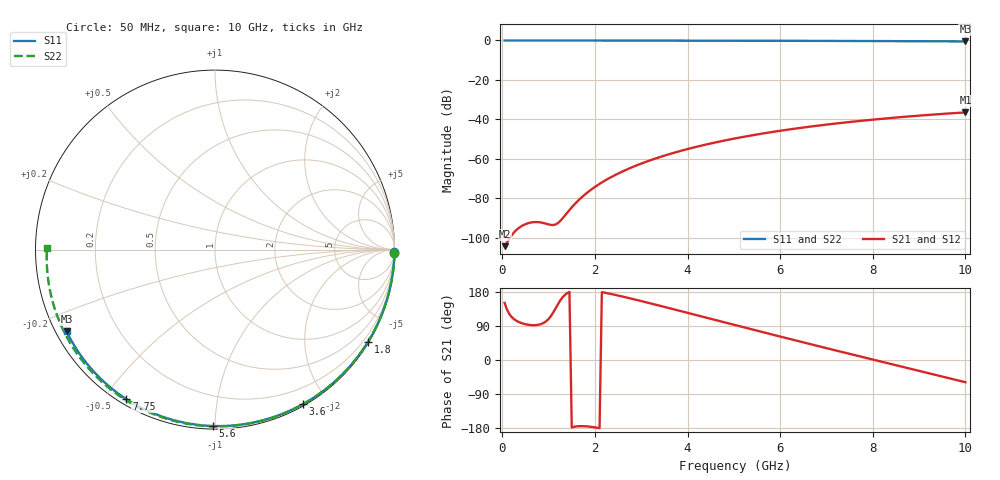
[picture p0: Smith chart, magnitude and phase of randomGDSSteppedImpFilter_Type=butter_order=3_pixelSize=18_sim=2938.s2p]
! freq	dB(S11)	phase(S11)	dB(S12)	phase(S12)
!  dB(S21)	phase(S21)	dB(S22)	phase(S22)
!S-par simulation data
#  GHz  S  DB  R 50
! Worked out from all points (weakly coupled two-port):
!   200 points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, 50 MHz to 10 GHz, reference 50 ohm
!   highest |S21| = -36.50 dB at 10 GHz (marker M1); lowest = -104.3 dB at 50 MHz (marker M2)
!   lowest |S11| = -0.5 dB at 10 GHz (marker M3), VSWR 34.63, Z = 1.54 - j12.8 ohm
!   |S11| at or under -10 dB: nowhere
!   |S22| runs from -0.6 to 0.0 dB; largest |S21 - S12| = 0
!   S11 on the Smith chart (normalised r, x): 50 MHz: open; 1.8 GHz: 0.03, -3.61; 3.6 GHz: 0.02, -1.72; 5.6 GHz: 0.02, -0.99; 7.75 GHz: 0.02, -0.57; 10 GHz: 0.03, -0.26
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0.05  -0.00 -0.9  -104.32 150.7  -104.32 150.7  -0.00 -1.0
0.4  -0.01 -7.0  -94.38 98.1  -94.38 98.1  -0.01 -8.4
0.8  -0.02 -13.9  -92.19 93.5  -92.19 93.5  -0.02 -16.6
1.2  -0.03 -20.8  -92.65 147.1  -92.65 147.1  -0.03 -24.8
1.65  -0.04 -28.5  -80.94 -174.7  -80.94 -174.7  -0.04 -33.9
1.7  -0.04 -29.3  -79.84 -174.5  -79.84 -174.5  -0.04 -34.9
1.75  -0.04 -30.1  -78.80 -174.6  -78.80 -174.6  -0.05 -35.9
1.8  -0.04 -31.0  -77.82 -174.9  -77.82 -174.9  -0.05 -36.9
2.1  -0.05 -36.0  -72.73 -179.8  -72.73 -179.8  -0.05 -42.9
2.5  -0.05 -42.6  -67.50 170.1  -67.50 170.1  -0.06 -50.7
2.9  -0.06 -49.2  -63.36 158.5  -63.36 158.5  -0.08 -58.4
3.4  -0.08 -57.2  -59.15 143.2  -59.15 143.2  -0.09 -67.8
3.6  -0.08 -60.4  -57.69 137.0  -57.69 137.0  -0.10 -71.5
4.3  -0.10 -71.3  -53.32 115.1  -53.32 115.1  -0.12 -84.2
5.05  -0.13 -82.6  -49.57 91.5  -49.57 91.5  -0.15 -97.4
5.6  -0.15 -90.6  -47.28 74.3  -47.28 74.3  -0.18 -106.8
6.15  -0.18 -98.5  -45.28 57.2  -45.28 57.2  -0.21 -116.0
6.7  -0.21 -106.2  -43.54 40.4  -43.54 40.4  -0.24 -125.0
7.75  -0.28 -120.7  -40.74 8.7  -40.74 8.7  -0.33 -142.2
8.35  -0.33 -128.8  -39.40 -9.2  -39.40 -9.2  -0.38 -152.0
9.2  -0.41 -140.3  -37.76 -34.6  -37.76 -34.6  -0.47 -166.3
10  -0.50 -151.2  -36.50 -58.6  -36.50 -58.6  -0.57 179.6
